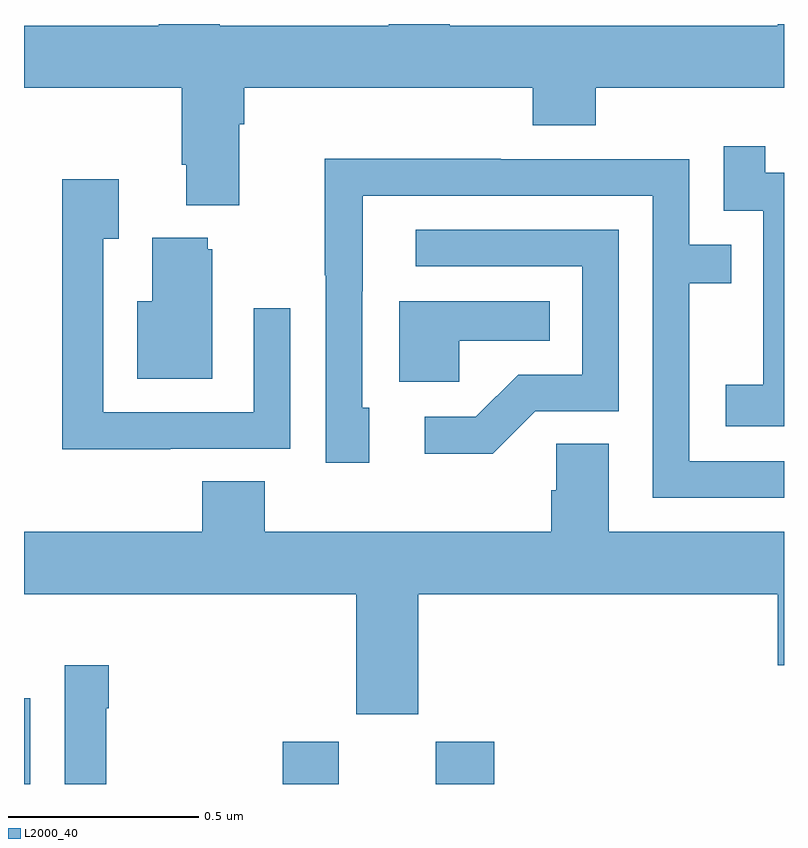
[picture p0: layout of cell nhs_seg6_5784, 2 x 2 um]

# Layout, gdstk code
import gdstk
lib = gdstk.Library(unit=1e-6, precision=1e-09)
def R(c, l, rs):  # rectangles x0, y0, x1, y1
    for r in rs: c.add(gdstk.rectangle(r[:2], r[2:], *l))
def P(c, l, *ps):  # polygons
    for p in ps: c.add(gdstk.Polygon(p, *l))
L2000_40 = (2000, 40)

nhs_seg6_5784 = lib.new_cell('nhs_seg6_5784')
R(nhs_seg6_5784, L2000_40, [(187,949.5,187.017,949.726), (187.681,949.5,187.828,949.611), (188.084,949.5,188.237,949.611)])
P(nhs_seg6_5784, L2000_40, [(187.567,951.236),(187.58,951.236),(187.58,951.332),(188.339,951.332),(188.339,951.233),(188.504,951.233),(188.504,951.332),(189,951.332),(189,951.5),(188.984,951.5),(188.984,951.496),(188.12,951.496),(188.12,951.5),(187.96,951.5),(187.96,951.496),(187.515,951.496),(187.515,951.5),(187.355,951.5),(187.355,951.496),(187,951.496),(187,951.332),(187.415,951.332),(187.415,951.13),(187.427,951.13),(187.427,951.023),(187.567,951.023)],
  [(189,951.108),(188.95,951.108),(188.95,951.178),(188.841,951.178),(188.841,951.009),(188.946,951.009),(188.946,950.78),(188.945,950.78),(188.945,950.551),(188.847,950.551),(188.847,950.441),(189,950.441)],
  [(189,950.349),(188.751,950.349),(188.751,950.818),(188.861,950.818),(188.861,950.919),(188.751,950.919),(188.751,951.144),(188.255,951.144),(188.255,951.146),(187.792,951.146),(187.792,950.839),(187.794,950.839),(187.794,950.346),(187.909,950.346),(187.909,950.49),(187.89,950.49),(187.89,950.797),(187.891,950.797),(187.891,951.048),(188.655,951.048),(188.655,950.253),(189,950.253)],
  [(187.385,950.382),(187.701,950.382),(187.701,950.752),(187.605,950.752),(187.605,950.478),(187.209,950.478),(187.209,950.935),(187.249,950.935),(187.249,951.091),(187.101,951.091),(187.101,950.381),(187.385,950.381)],
  [(188.346,950.481),(188.565,950.481),(188.565,950.958),(188.031,950.958),(188.031,950.862),(188.469,950.862),(188.469,950.577),(188.3,950.577),(188.189,950.466),(188.055,950.466),(188.055,950.369),(188.233,950.369)],
  [(187.495,950.907),(187.484,950.907),(187.484,950.938),(187.337,950.938),(187.337,950.77),(187.298,950.77),(187.298,950.567),(187.495,950.567)],
  [(188.145,950.666),(188.384,950.666),(188.384,950.77),(187.988,950.77),(187.988,950.558),(188.145,950.558)],
  [(188.038,950),(188.984,950),(188.984,949.812),(189,949.812),(189,950.164),(188.539,950.164),(188.539,950.396),(188.4,950.396),(188.4,950.273),(188.387,950.273),(188.387,950.164),(187.634,950.164),(187.634,950.297),(187.469,950.297),(187.469,950.164),(187,950.164),(187,950),(187.874,950),(187.874,949.683),(188.038,949.683)],
  [(187.216,949.7),(187.223,949.7),(187.223,949.813),(187.107,949.813),(187.107,949.5),(187.216,949.5)])

lib.write_gds('nhs_seg6_5784.gds')
